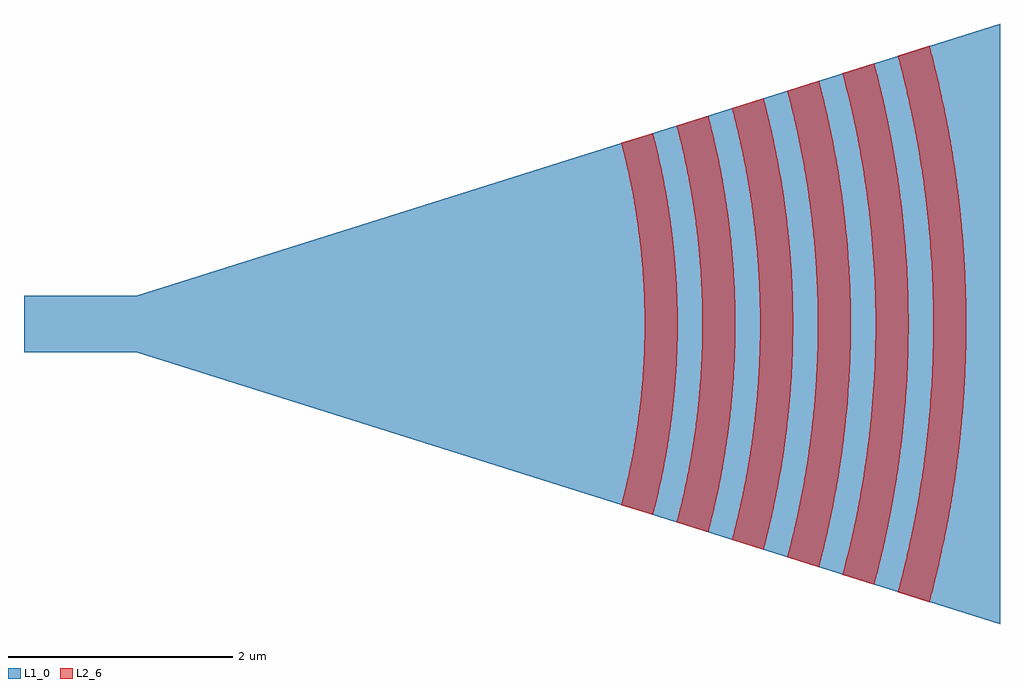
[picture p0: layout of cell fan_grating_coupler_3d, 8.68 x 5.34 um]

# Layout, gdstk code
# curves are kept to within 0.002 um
import gdstk
lib = gdstk.Library(unit=1e-6, precision=1e-09)
def P(c, l, *ps):  # polygons
    for p in ps: c.add(gdstk.Polygon(p, *l))
L1_0 = (1, 0)
L2_6 = (2, 6)

unnamed_2 = lib.new_cell('Unnamed_2')
P(unnamed_2, L2_6, [(4.593,-1.698),(4.312,-1.61),(4.35,-1.458),(4.402,-1.219),(4.44,-1.006),(4.465,-0.836),(4.489,-0.63),(4.505,-0.441),(4.515,-0.261),(4.52,-0.081),(4.52,0.081),(4.513,0.306),(4.495,0.567),(4.473,0.773),(4.44,1.006),(4.402,1.219),(4.35,1.458),(4.312,1.61),(4.593,1.698),(4.635,1.532),(4.676,1.347),(4.72,1.113),(4.753,0.898),(4.786,0.606),(4.797,0.473),(4.806,0.322),(4.813,0.104),(4.813,-0.104),(4.803,-0.379),(4.787,-0.596),(4.764,-0.813),(4.738,-1.001),(4.7,-1.226),(4.65,-1.467)],
  [(5.085,-1.854),(4.804,-1.765),(4.853,-1.569),(4.895,-1.377),(4.935,-1.164),(4.964,-0.979),(4.988,-0.794),(5.015,-0.51),(5.028,-0.285),(5.033,-0.108),(5.032,0.157),(5.022,0.402),(5.007,0.608),(4.981,0.853),(4.949,1.077),(4.914,1.28),(4.864,1.521),(4.804,1.765),(5.085,1.854),(5.147,1.603),(5.196,1.371),(5.232,1.168),(5.264,0.954),(5.288,0.75),(5.311,0.483),(5.323,0.247),(5.327,0.062),(5.324,-0.216),(5.313,-0.452),(5.3,-0.627),(5.268,-0.923),(5.237,-1.137),(5.196,-1.371),(5.147,-1.603)],
  [(5.576,-2.009),(5.296,-1.92),(5.349,-1.709),(5.397,-1.49),(5.442,-1.249),(5.479,-1.007),(5.507,-0.775),(5.526,-0.563),(5.54,-0.329),(5.547,-0.064),(5.545,0.181),(5.532,0.478),(5.516,0.68),(5.49,0.923),(5.449,1.207),(5.399,1.48),(5.349,1.709),(5.296,1.92),(5.576,2.009),(5.626,1.816),(5.677,1.588),(5.727,1.325),(5.76,1.117),(5.795,0.842),(5.815,0.632),(5.831,0.388),(5.84,0.1),(5.839,-0.155),(5.828,-0.444),(5.802,-0.775),(5.778,-0.985),(5.738,-1.26),(5.699,-1.479),(5.626,-1.816)],
  [(6.069,-2.164),(5.787,-2.075),(5.85,-1.828),(5.899,-1.604),(5.951,-1.322),(5.984,-1.107),(6.011,-0.891),(6.036,-0.629),(6.05,-0.412),(6.06,-0.103),(6.058,0.206),(6.047,0.469),(6.023,0.777),(5.999,0.993),(5.964,1.243),(5.908,1.559),(5.85,1.828),(5.787,2.075),(6.069,2.164),(6.132,1.913),(6.195,1.622),(6.244,1.352),(6.287,1.057),(6.316,0.796),(6.336,0.547),(6.349,0.286),(6.354,0.036),(6.351,-0.226),(6.339,-0.5),(6.316,-0.796),(6.287,-1.057),(6.244,-1.352),(6.195,-1.622),(6.132,-1.913)],
  [(6.56,-2.319),(6.279,-2.23),(6.34,-1.993),(6.401,-1.717),(6.438,-1.524),(6.478,-1.282),(6.497,-1.148),(6.53,-0.868),(6.554,-0.588),(6.569,-0.294),(6.574,-0.037),(6.569,0.294),(6.558,0.526),(6.536,0.807),(6.505,1.088),(6.478,1.282),(6.413,1.657),(6.34,1.993),(6.279,2.23),(6.56,2.319),(6.642,1.994),(6.68,1.819),(6.735,1.531),(6.784,1.217),(6.811,1.002),(6.843,0.66),(6.857,0.432),(6.867,0.089),(6.865,-0.203),(6.853,-0.508),(6.828,-0.838),(6.799,-1.103),(6.76,-1.381),(6.71,-1.669),(6.642,-1.994)],
  [(7.052,-2.474),(6.771,-2.385),(6.841,-2.112),(6.895,-1.869),(6.947,-1.599),(7,-1.263),(7.035,-0.978),(7.066,-0.626),(7.078,-0.418),(7.087,-0.091),(7.085,0.209),(7.074,0.496),(7.054,0.783),(7.017,1.133),(6.971,1.457),(6.908,1.805),(6.841,2.112),(6.771,2.385),(7.052,2.474),(7.138,2.134),(7.195,1.869),(7.247,1.589),(7.294,1.281),(7.331,0.972),(7.358,0.649),(7.371,0.432),(7.38,0.122),(7.379,-0.189),(7.369,-0.473),(7.345,-0.824),(7.308,-1.174),(7.258,-1.522),(7.203,-1.829),(7.138,-2.134)])

fan_grating_coupler_3d = lib.new_cell('fan_grating_coupler_3d')
P(fan_grating_coupler_3d, L1_0, [(7.68,-2.672),(0,-0.25),(-1,-0.25),(-1,0.25),(0,0.25),(7.68,2.672)])
fan_grating_coupler_3d.add(gdstk.Reference(unnamed_2, (0,0)))

lib.write_gds('fan_grating_coupler_3d.gds')
